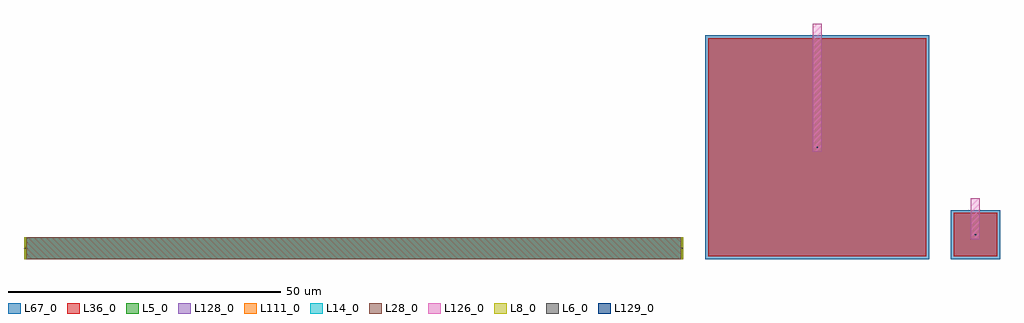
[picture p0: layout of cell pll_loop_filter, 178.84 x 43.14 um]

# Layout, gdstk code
import gdstk
lib = gdstk.Library(unit=1e-6, precision=1e-09)
def R(c, l, rs):  # rectangles x0, y0, x1, y1
    for r in rs: c.add(gdstk.rectangle(r[:2], r[2:], *l))
L5_0 = (5, 0)
L6_0 = (6, 0)
L8_0 = (8, 0)
L14_0 = (14, 0)
L28_0 = (28, 0)
L36_0 = (36, 0)
L67_0 = (67, 0)
L111_0 = (111, 0)
L126_0 = (126, 0)
L128_0 = (128, 0)
L129_0 = (129, 0)

res_array = lib.new_cell('res_array')
R(res_array, L5_0, [(0,0,120.84,4)])
R(res_array, L6_0, [(0.1,1.89,0.32,2.11), (120.52,1.89,120.74,2.11)])
R(res_array, L8_0, [(0,0,0.42,4), (120.42,0,120.84,4)])
R(res_array, L14_0, [(0.42,0,120.42,4)])
R(res_array, L28_0, [(0.42,0,120.42,4)])
R(res_array, L111_0, [(0.42,0,120.42,4)])
R(res_array, L128_0, [(0.42,0,120.42,4)])

loop_filter_resrppd_w4_l = lib.new_cell('loop_filter_resrppd_w4_l120__loop_filter_resrppd_w4_l120')
loop_filter_resrppd_w4_l.add(gdstk.Reference(res_array, (0,0)))

cap_array = lib.new_cell('cap_array')
R(cap_array, L36_0, [(0.5,0.5,40.5,40.5)])
R(cap_array, L67_0, [(0,0,41,41)])
R(cap_array, L126_0, [(19.68,19.68,21.32,21.32), (19.68,21.32,21.32,41.5), (19.68,41.5,21.32,43.14)])
R(cap_array, L129_0, [(20.39,20.39,20.61,20.61)])

loop_filter_xc1__loop_fi = lib.new_cell('loop_filter_XC1__loop_filter_XC1')
loop_filter_xc1__loop_fi.add(gdstk.Reference(cap_array, (0,0)))

cap_array_1 = lib.new_cell('cap_array$1')
R(cap_array_1, L36_0, [(0.5,0.5,8.5,8.5)])
R(cap_array_1, L67_0, [(0,0,9,9)])
R(cap_array_1, L126_0, [(3.68,3.68,5.32,5.32), (3.68,5.32,5.32,9.5), (3.68,9.5,5.32,11.14)])
R(cap_array_1, L129_0, [(4.39,4.39,4.61,4.61)])

loop_filter_xc2__loop_fi = lib.new_cell('loop_filter_XC2__loop_filter_XC2')
loop_filter_xc2__loop_fi.add(gdstk.Reference(cap_array_1, (0,0)))

pll_loop_filter = lib.new_cell('pll_loop_filter')
pll_loop_filter.add(gdstk.Reference(loop_filter_resrppd_w4_l, (0,0)))
pll_loop_filter.add(gdstk.Reference(loop_filter_xc1__loop_fi, (124.84,0)))
pll_loop_filter.add(gdstk.Reference(loop_filter_xc2__loop_fi, (169.84,0)))

lib.write_gds('pll_loop_filter.gds')
